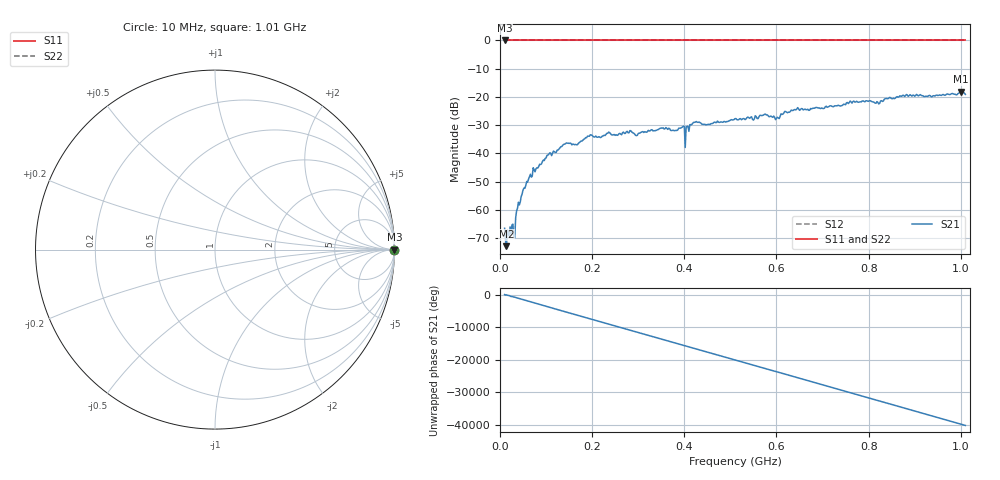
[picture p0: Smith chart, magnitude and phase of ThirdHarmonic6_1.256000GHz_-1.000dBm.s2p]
! 8/16/2025 1:28:22 PM
! C:\ANRITSUVNA\TEMP\TEMP.S2P
! CHANNEL.1
! TR.MEASUREMENT
! RAW.DATA
! RF.CORRECTION.OFF
! AVERAGING.OFF
! IF.BANDWIDTH: 5KHZ
! SWEEPTYPE:  FREQ.SWEEP(Linear)
! Reference Plane Port Info
! PORT:  PORT1  PORT2
! DISTANCE:  0  m  0  m
! TIME:  0  s  0  s
! PHASE.OFFSET:  0  deg.  0  deg.
! LOSS:  0  dB  0  dB
! REF.LOSS:  0  dB  0  dB
! REF.FREQ:  0  Hz  0  Hz
! Power Info
! POWER:  -20  dBm  -20  dBm
! EFF.POWER:  -20  dBm  -20  dBm
! SOURCE.ATTEN:  0  dB  0  dB
! TEST.ATTEN:  0  dB  0  dB
# GHZ S RI R 50.0
! FREQ.GHZ  S11RE  S11IM  S21RE  S21IM  S12RE  S12IM  S22RE  S22IM
!; PortSelection: Port_12
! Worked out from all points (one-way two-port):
!   501 points, 10 MHz to 1.01 GHz, reference 50 ohm
!   highest |S21| = -18.18 dB at 1 GHz (marker M1); lowest = -72.8 dB at 14 MHz (marker M2)
!   lowest |S11| = 0.0 dB at 10 MHz (marker M3)
!   |S11| at or under -10 dB: nowhere
!   |S22| runs from 0.0 to 0.0 dB; largest |S21 - S12| = 1.1
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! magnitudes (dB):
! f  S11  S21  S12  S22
! 10 MHz  0.0  -66.5  0.0  0.0
! 14 MHz  0.0  -72.8  0.0  0.0
! 28 MHz  0.0  -65.0  0.0  0.0
! 34 MHz  0.0  -62.8  0.0  0.0
! 38 MHz  0.0  -59.4  0.0  0.0
! 50 MHz  0.0  -52.9  0.0  0.0
! 76 MHz  0.0  -46.5  0.0  0.0
! 140 MHz  0.0  -36.7  0.0  0.0
! 178 MHz  0.0  -35.6  0.0  0.0
! 194 MHz  0.0  -33.9  0.0  0.0
! 344 MHz  0.0  -31.5  0.0  0.0
! 396 MHz  0.0  -30.6  0.0  0.0
! 406 MHz  0.0  -30.4  0.0  0.0
! 422 MHz  0.0  -29.0  0.0  0.0
! 510 MHz  0.0  -27.7  0.0  0.0
! 576 MHz  0.0  -26.1  0.0  0.0
! 602 MHz  0.0  -27.2  0.0  0.0
! 642 MHz  0.0  -24.6  0.0  0.0
! 678 MHz  0.0  -24.1  0.0  0.0
! 844 MHz  0.0  -20.3  0.0  0.0
! 1 GHz  0.0  -18.2  0.0  0.0
! 1.01 GHz  0.0  -19.1  0.0  0.0
